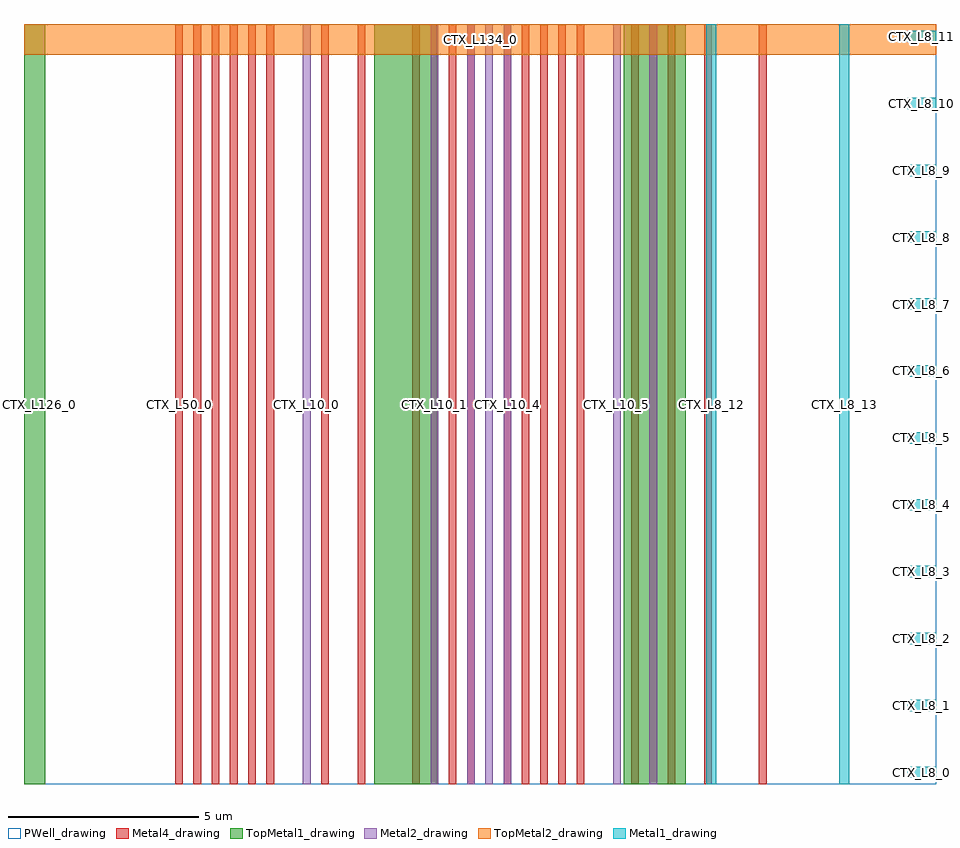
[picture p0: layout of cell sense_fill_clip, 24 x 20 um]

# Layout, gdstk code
import gdstk
lib = gdstk.Library(unit=1e-6, precision=1e-09)
def R(c, l, rs):  # rectangles x0, y0, x1, y1
    for r in rs: c.add(gdstk.rectangle(r[:2], r[2:], *l))
def A(c, l, x, y, w, h, nx, ny, dx, dy):  # array of equal rectangles
    R(c, l, [(x+i*dx, y+j*dy, x+i*dx+w, y+j*dy+h) for i in range(nx) for j in range(ny)])
Metal1_drawing = (8, 0)
Metal2_drawing = (10, 0)
PWell_drawing = (46, 0)
Metal4_drawing = (50, 0)
TopMetal1_drawing = (126, 0)
TopMetal2_drawing = (134, 0)

sense_fill_clip = lib.new_cell('sense_fill_clip')
A(sense_fill_clip, Metal1_drawing, 743.02, 701.43, 0.74, 0.3, 1, 12, 0, 1.76)
R(sense_fill_clip, Metal1_drawing, [(737.72,701.27,737.98,721.27), (741.22,701.27,741.48,721.27)])
A(sense_fill_clip, Metal2_drawing, 731.42, 701.27, 0.2, 20, 3, 1, 0.48, 0)
R(sense_fill_clip, Metal2_drawing, [(727.1,701.27,727.3,721.27), (730.46,701.27,730.66,721.27), (735.26,701.27,735.46,721.27), (736.22,701.27,736.42,721.27)])
R(sense_fill_clip, PWell_drawing, [(719.76,701.27,743.76,721.27), (719.76,701.27,743.76,721.27)])
A(sense_fill_clip, Metal4_drawing, 723.74, 701.27, 0.2, 20, 6, 1, 0.48, 0)
A(sense_fill_clip, Metal4_drawing, 729.98, 701.27, 0.2, 20, 4, 1, 0.48, 0)
A(sense_fill_clip, Metal4_drawing, 732.38, 701.27, 0.2, 20, 5, 1, 0.48, 0)
A(sense_fill_clip, Metal4_drawing, 735.74, 701.27, 0.2, 20, 3, 1, 0.48, 0)
R(sense_fill_clip, Metal4_drawing, [(727.58,701.27,727.78,721.27), (728.54,701.27,728.74,721.27), (737.66,701.27,737.86,721.27), (739.1,701.27,739.3,721.27)])
R(sense_fill_clip, TopMetal1_drawing, [(719.76,701.27,720.32,721.27), (728.98,701.27,730.62,721.27), (735.54,701.27,737.18,721.27)])
R(sense_fill_clip, TopMetal2_drawing, [(719.76,720.46,743.76,721.27)])
sense_fill_clip.add(gdstk.Label('CTX_L8_13', (741.35,711.27), layer=8, texttype=25))
sense_fill_clip.add(gdstk.Label('CTX_L8_0', (743.39,701.58), layer=8, texttype=25))
sense_fill_clip.add(gdstk.Label('CTX_L8_1', (743.39,703.34), layer=8, texttype=25))
sense_fill_clip.add(gdstk.Label('CTX_L8_2', (743.39,705.1), layer=8, texttype=25))
sense_fill_clip.add(gdstk.Label('CTX_L8_3', (743.39,706.86), layer=8, texttype=25))
sense_fill_clip.add(gdstk.Label('CTX_L8_4', (743.39,708.62), layer=8, texttype=25))
sense_fill_clip.add(gdstk.Label('CTX_L8_9', (743.39,717.42), layer=8, texttype=25))
sense_fill_clip.add(gdstk.Label('CTX_L8_7', (743.39,713.9), layer=8, texttype=25))
sense_fill_clip.add(gdstk.Label('CTX_L8_5', (743.39,710.38), layer=8, texttype=25))
sense_fill_clip.add(gdstk.Label('CTX_L8_6', (743.39,712.14), layer=8, texttype=25))
sense_fill_clip.add(gdstk.Label('CTX_L8_8', (743.39,715.66), layer=8, texttype=25))
sense_fill_clip.add(gdstk.Label('CTX_L8_10', (743.39,719.18), layer=8, texttype=25))
sense_fill_clip.add(gdstk.Label('CTX_L8_11', (743.39,720.94), layer=8, texttype=25))
sense_fill_clip.add(gdstk.Label('CTX_L8_12', (737.85,711.27), layer=8, texttype=25))
sense_fill_clip.add(gdstk.Label('CTX_L10_5', (735.36,711.27), layer=10, texttype=25))
sense_fill_clip.add(gdstk.Label('CTX_L10_4', (732.48,711.27), layer=10, texttype=25))
sense_fill_clip.add(gdstk.Label('P', (732,711.27), layer=10, texttype=25))
sense_fill_clip.add(gdstk.Label('N', (731.52,711.27), layer=10, texttype=25))
sense_fill_clip.add(gdstk.Label('CTX_L10_1', (730.56,711.27), layer=10, texttype=25))
sense_fill_clip.add(gdstk.Label('CTX_L10_6', (736.32,711.27), layer=10, texttype=25))
sense_fill_clip.add(gdstk.Label('CTX_L10_0', (727.2,711.27), layer=10, texttype=25))
sense_fill_clip.add(gdstk.Label('CTX_L50_19', (736.8,711.27), layer=50, texttype=25))
sense_fill_clip.add(gdstk.Label('CTX_L50_18', (736.32,711.27), layer=50, texttype=25))
sense_fill_clip.add(gdstk.Label('CTX_L50_17', (735.84,711.27), layer=50, texttype=25))
sense_fill_clip.add(gdstk.Label('CTX_L50_21', (739.2,711.27), layer=50, texttype=25))
sense_fill_clip.add(gdstk.Label('CTX_L50_16', (734.4,711.27), layer=50, texttype=25))
sense_fill_clip.add(gdstk.Label('CTX_L50_15', (733.92,711.27), layer=50, texttype=25))
sense_fill_clip.add(gdstk.Label('CTX_L50_14', (733.44,711.27), layer=50, texttype=25))
sense_fill_clip.add(gdstk.Label('CTX_L50_13', (732.96,711.27), layer=50, texttype=25))
sense_fill_clip.add(gdstk.Label('CTX_L50_10', (731.04,711.27), layer=50, texttype=25))
sense_fill_clip.add(gdstk.Label('CTX_L50_0', (723.84,711.27), layer=50, texttype=25))
sense_fill_clip.add(gdstk.Label('CTX_L50_1', (724.32,711.27), layer=50, texttype=25))
sense_fill_clip.add(gdstk.Label('CTX_L50_2', (724.8,711.27), layer=50, texttype=25))
sense_fill_clip.add(gdstk.Label('CTX_L50_3', (725.28,711.27), layer=50, texttype=25))
sense_fill_clip.add(gdstk.Label('CTX_L50_6', (727.68,711.27), layer=50, texttype=25))
sense_fill_clip.add(gdstk.Label('CTX_L50_4', (725.76,711.27), layer=50, texttype=25))
sense_fill_clip.add(gdstk.Label('CTX_L50_8', (730.08,711.27), layer=50, texttype=25))
sense_fill_clip.add(gdstk.Label('CTX_L50_5', (726.24,711.27), layer=50, texttype=25))
sense_fill_clip.add(gdstk.Label('CTX_L50_7', (728.64,711.27), layer=50, texttype=25))
sense_fill_clip.add(gdstk.Label('CTX_L50_9', (730.56,711.27), layer=50, texttype=25))
sense_fill_clip.add(gdstk.Label('CTX_L50_20', (737.76,711.27), layer=50, texttype=25))
sense_fill_clip.add(gdstk.Label('CTX_L50_11', (731.52,711.27), layer=50, texttype=25))
sense_fill_clip.add(gdstk.Label('CTX_L50_12', (732.48,711.27), layer=50, texttype=25))
sense_fill_clip.add(gdstk.Label('CTX_L126_2', (736.36,711.27), layer=126, texttype=25))
sense_fill_clip.add(gdstk.Label('CTX_L126_1', (729.8,711.27), layer=126, texttype=25))
sense_fill_clip.add(gdstk.Label('CTX_L126_0', (720.04,711.27), layer=126, texttype=25))
sense_fill_clip.add(gdstk.Label('CTX_L134_0', (731.76,720.865), layer=134, texttype=25))

lib.write_gds('sense_fill_clip.gds')
